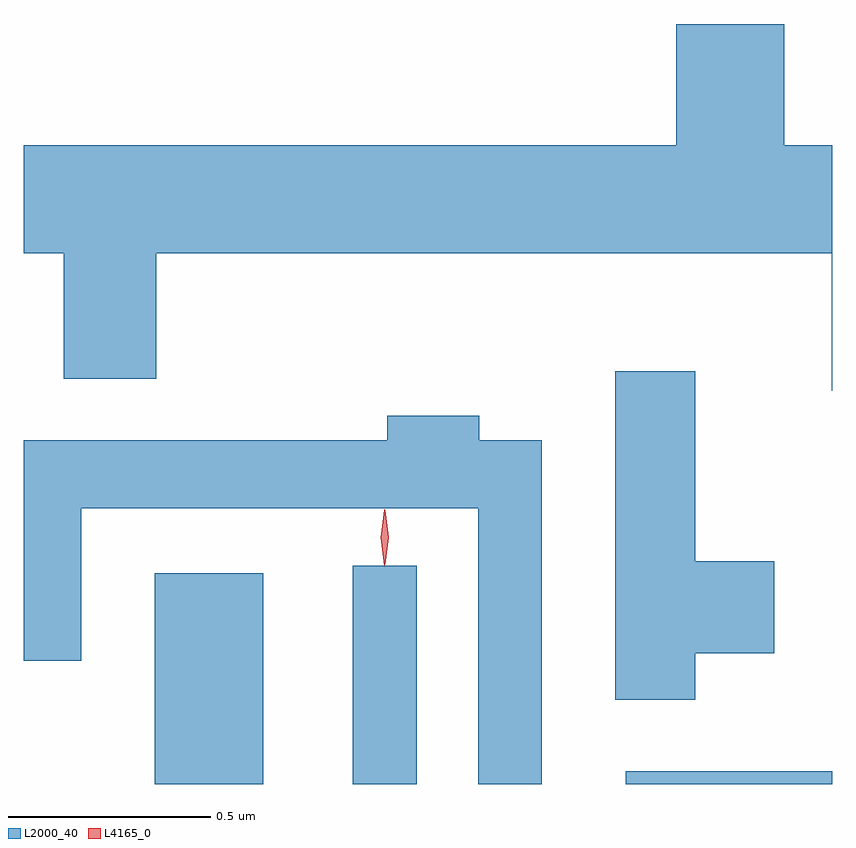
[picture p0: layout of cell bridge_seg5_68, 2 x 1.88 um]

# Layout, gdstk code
import gdstk
lib = gdstk.Library(unit=1e-6, precision=1e-09)
def R(c, l, rs):  # rectangles x0, y0, x1, y1
    for r in rs: c.add(gdstk.rectangle(r[:2], r[2:], *l))
def P(c, l, *ps):  # polygons
    for p in ps: c.add(gdstk.Polygon(p, *l))
L2000_40 = (2000, 40)
L4165_0 = (4165, 0)

bridge_seg5_68 = lib.new_cell('bridge_seg5_68')
R(bridge_seg5_68, L2000_40, [(1292.706,1475.463,1292.974,1475.984), (1293.196,1475.463,1293.354,1476.003), (1293.871,1475.463,1294.382,1475.494)])
P(bridge_seg5_68, L2000_40, [(1294.382,1477.044),(1294.264,1477.044),(1294.264,1477.344),(1293.996,1477.344),(1293.996,1477.044),(1292.382,1477.044),(1292.382,1476.776),(1292.481,1476.776),(1292.481,1476.466),(1292.709,1476.466),(1292.709,1476.776),(1294.381,1476.776),(1294.381,1476.436),(1294.382,1476.436)],
  [(1294.044,1475.786),(1294.239,1475.786),(1294.239,1476.014),(1294.044,1476.014),(1294.044,1476.484),(1293.846,1476.484),(1293.846,1475.671),(1294.044,1475.671)],
  [(1293.664,1476.314),(1293.509,1476.314),(1293.509,1476.374),(1293.281,1476.374),(1293.281,1476.314),(1292.382,1476.314),(1292.382,1475.768),(1292.524,1475.768),(1292.524,1476.146),(1293.506,1476.146),(1293.506,1475.463),(1293.664,1475.463)])
P(bridge_seg5_68, L4165_0, [(1293.275,1476.007),(1293.275,1476.007),(1293.265,1476.074),(1293.275,1476.14),(1293.275,1476.14),(1293.276,1476.14),(1293.285,1476.074),(1293.276,1476.007)],
  [(1293.275,1476.003),(1293.274,1476.004),(1293.265,1476.073),(1293.274,1476.142),(1293.275,1476.143),(1293.275,1476.142),(1293.285,1476.073),(1293.275,1476.004)])

lib.write_gds('bridge_seg5_68.gds')
